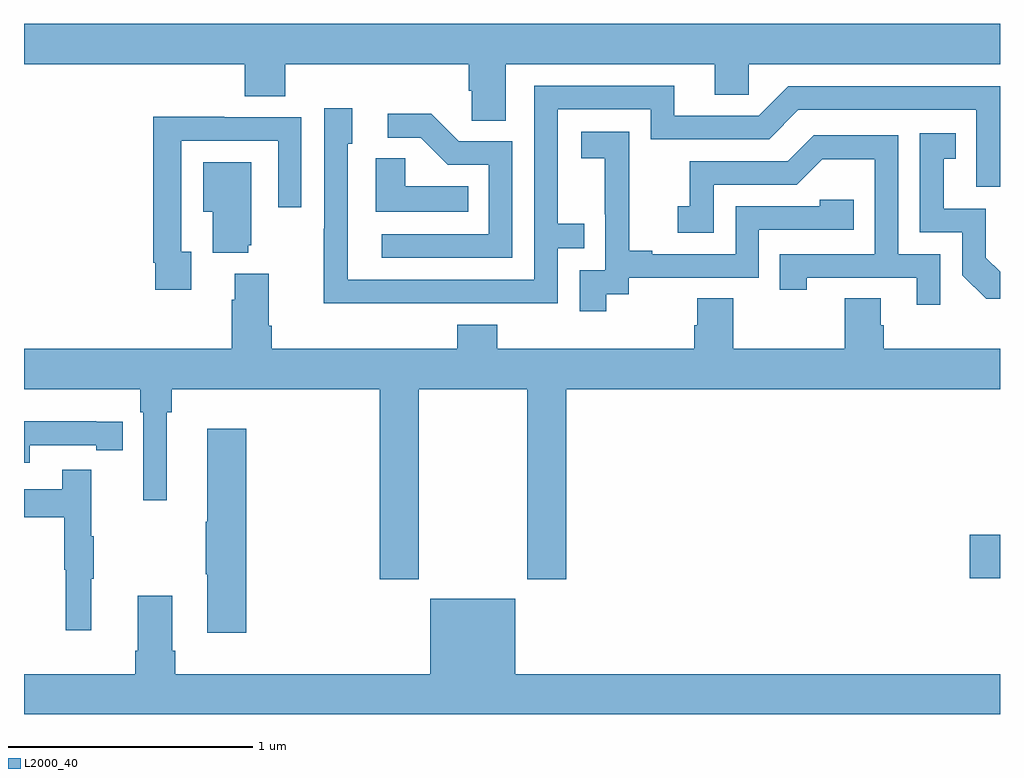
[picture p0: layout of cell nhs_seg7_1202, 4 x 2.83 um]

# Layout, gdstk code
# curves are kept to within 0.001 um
import gdstk
lib = gdstk.Library(unit=1e-6, precision=1e-09)
def R(c, l, rs):  # rectangles x0, y0, x1, y1
    for r in rs: c.add(gdstk.rectangle(r[:2], r[2:], *l))
def P(c, l, *ps):  # polygons
    for p in ps: c.add(gdstk.Polygon(p, *l))
L2000_40 = (2000, 40)

nhs_seg7_1202 = lib.new_cell('nhs_seg7_1202')
R(nhs_seg7_1202, L2000_40, [(198.876,1009.165,199,1009.343)])
P(nhs_seg7_1202, L2000_40, [(196.975,1011.272),(197.831,1011.272),(197.831,1011.145),(197.97,1011.145),(197.97,1011.272),(199,1011.272),(199,1011.436),(195,1011.436),(195,1011.272),(195.905,1011.272),(195.905,1011.139),(196.07,1011.139),(196.07,1011.272),(196.823,1011.272),(196.823,1011.163),(196.836,1011.163),(196.836,1011.04),(196.975,1011.04)],
  [(196.691,1010.292),(197.187,1010.292),(197.187,1010.517),(197.297,1010.517),(197.297,1010.618),(197.187,1010.618),(197.187,1011.087),(197.568,1011.087),(197.568,1010.964),(198.054,1010.964),(198.174,1011.084),(198.903,1011.084),(198.903,1010.769),(199,1010.769),(199,1011.18),(198.132,1011.18),(198.012,1011.06),(197.665,1011.06),(197.665,1011.183),(197.091,1011.183),(197.091,1010.388),(196.326,1010.388),(196.326,1010.946),(196.345,1010.946),(196.345,1011.091),(196.23,1011.091),(196.23,1010.597),(196.228,1010.597),(196.228,1010.291)],
  [(197.001,1010.955),(196.782,1010.955),(196.669,1011.068),(196.491,1011.068),(196.491,1010.97),(196.625,1010.97),(196.736,1010.859),(196.905,1010.859),(196.905,1010.574),(196.467,1010.574),(196.467,1010.478),(197.001,1010.478)],
  [(195.685,1010.502),(195.645,1010.502),(195.645,1010.958),(196.041,1010.958),(196.041,1010.685),(196.137,1010.685),(196.137,1011.054),(195.821,1011.054),(195.821,1011.056),(195.529,1011.056),(195.529,1010.458),(195.537,1010.458),(195.537,1010.346),(195.685,1010.346)],
  [(197.386,1010.329),(197.478,1010.329),(197.478,1010.397),(198.012,1010.397),(198.012,1010.592),(198.401,1010.592),(198.401,1010.715),(198.261,1010.715),(198.261,1010.688),(197.916,1010.688),(197.916,1010.493),(197.575,1010.493),(197.575,1010.506),(197.48,1010.506),(197.48,1010.789),(197.481,1010.789),(197.481,1010.995),(197.283,1010.995),(197.283,1010.885),(197.381,1010.885),(197.381,1010.657),(197.382,1010.657),(197.382,1010.427),(197.277,1010.427),(197.277,1010.259),(197.386,1010.259)],
  [(199,1010.42),(198.942,1010.478),(198.942,1010.679),(198.769,1010.679),(198.769,1010.883),(198.818,1010.883),(198.818,1010.989),(198.672,1010.989),(198.672,1010.583),(198.846,1010.583),(198.846,1010.406),(198.944,1010.309),(199,1010.309)],
  [(198.756,1010.493),(198.582,1010.493),(198.582,1010.979),(198.236,1010.979),(198.131,1010.874),(197.728,1010.874),(197.728,1010.689),(197.679,1010.689),(197.679,1010.58),(197.826,1010.58),(197.826,1010.778),(198.168,1010.778),(198.272,1010.882),(198.486,1010.882),(198.486,1010.493),(198.097,1010.493),(198.097,1010.346),(198.208,1010.346),(198.208,1010.397),(198.659,1010.397),(198.659,1010.286),(198.756,1010.286)],
  [(196.82,1010.77),(196.563,1010.77),(196.563,1010.885),(196.442,1010.885),(196.442,1010.666),(196.82,1010.666)],
  [(195.92,1010.529),(195.931,1010.529),(195.931,1010.869),(195.734,1010.869),(195.734,1010.666),(195.773,1010.666),(195.773,1010.498),(195.92,1010.498)],
  [(196.016,1010.2),(196.003,1010.2),(196.003,1010.413),(195.863,1010.413),(195.863,1010.306),(195.851,1010.306),(195.851,1010.104),(195,1010.104),(195,1009.94),(195.476,1009.94),(195.476,1009.844),(195.489,1009.844),(195.489,1009.485),(195.586,1009.485),(195.586,1009.844),(195.605,1009.844),(195.605,1009.94),(196.457,1009.94),(196.457,1009.161),(196.617,1009.161),(196.617,1009.94),(197.062,1009.94),(197.062,1009.161),(197.222,1009.161),(197.222,1009.94),(199,1009.94),(199,1010.104),(198.524,1010.104),(198.524,1010.202),(198.511,1010.202),(198.511,1010.312),(198.364,1010.312),(198.364,1010.104),(197.907,1010.104),(197.907,1010.312),(197.759,1010.312),(197.759,1010.202),(197.747,1010.202),(197.747,1010.104),(196.94,1010.104),(196.94,1010.203),(196.775,1010.203),(196.775,1010.104),(196.016,1010.104)],
  [(195.024,1009.71),(195.296,1009.71),(195.296,1009.69),(195.404,1009.69),(195.404,1009.806),(195.296,1009.806),(195.296,1009.807),(195,1009.807),(195,1009.638),(195.024,1009.638)],
  [(195.911,1009.777),(195.752,1009.777),(195.752,1009.397),(195.745,1009.397),(195.745,1009.18),(195.752,1009.18),(195.752,1008.942),(195.911,1008.942)],
  [(195.275,1009.163),(195.286,1009.163),(195.286,1009.337),(195.275,1009.337),(195.275,1009.609),(195.157,1009.609),(195.157,1009.53),(195,1009.53),(195,1009.414),(195.165,1009.414),(195.165,1009.2),(195.172,1009.2),(195.172,1008.951),(195.275,1008.951)],
  [(199,1008.772),(197.014,1008.772),(197.014,1009.081),(196.664,1009.081),(196.664,1008.772),(195.62,1008.772),(195.62,1008.868),(195.607,1008.868),(195.607,1009.093),(195.467,1009.093),(195.467,1008.868),(195.455,1008.868),(195.455,1008.772),(195,1008.772),(195,1008.608),(199,1008.608)])

lib.write_gds('nhs_seg7_1202.gds')
